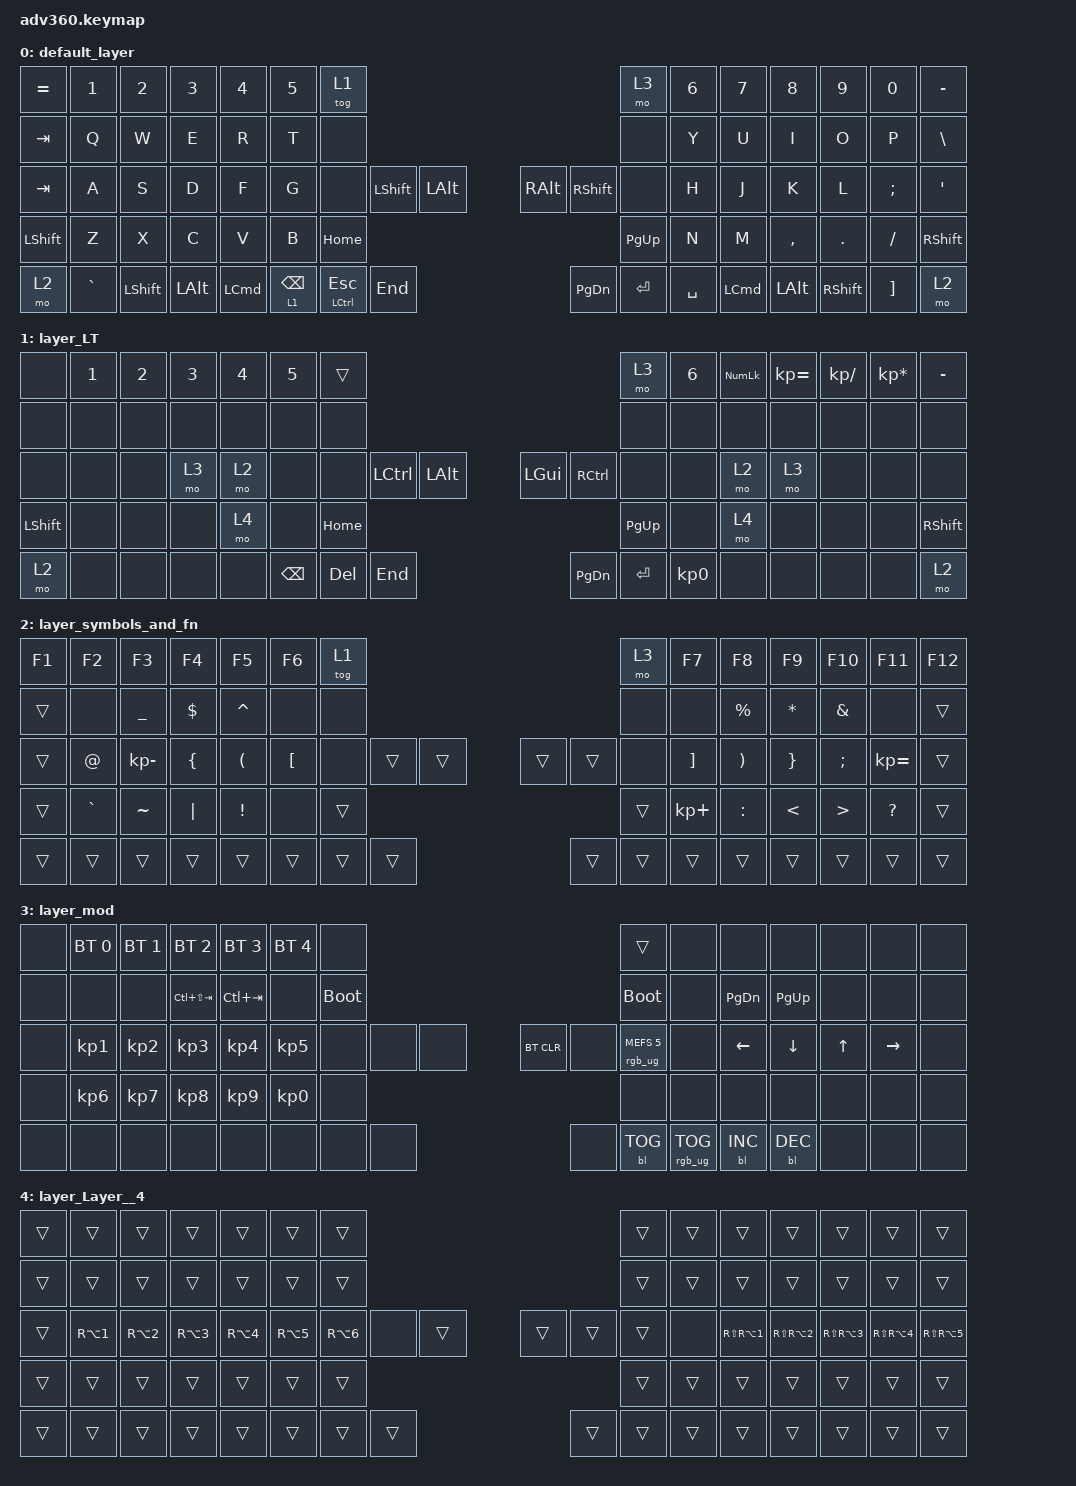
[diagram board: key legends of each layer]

/*
 * Copyright (c) 2020 The ZMK Contributors
 *
 * SPDX-License-Identifier: MIT
 */


/* THIS FILE WAS GENERATED!
 *
 * This file was generated automatically. You may or may not want to
 * edit it directly.
 */

#include <behaviors.dtsi>
#include <dt-bindings/zmk/keys.h>
#include <dt-bindings/zmk/bt.h>
#include <dt-bindings/zmk/rgb.h>
#include <dt-bindings/zmk/backlight.h>

/ {
  behaviors {
    #include "macros.dtsi"
    #include "version.dtsi"

    hm: homerow_mods {
        compatible = "zmk,behavior-hold-tap";
        label = "HOMEROW_MODS";
        #binding-cells = <2>;
        tapping-term-ms = <200>;
        quick_tap_ms = <175>;
        flavor = "tap-preferred";
        bindings = <&kp>, <&kp>;
    };
  };

    keymap {
        compatible = "zmk,keymap";


        default_layer {
            bindings = <
 &kp EQUAL     &kp N1          &kp N2        &kp N3            &kp N4  &kp N5                     &tog 1                                                                                         &mo 3  &kp N6            &kp N7        &kp N8           &kp N9    &kp N0  &kp MINUS
   &kp TAB      &kp Q           &kp W         &kp E             &kp R   &kp T                      &none                                                                                         &none   &kp Y             &kp U         &kp I            &kp O     &kp P   &kp BSLH
   &kp TAB      &kp A           &kp S         &kp D             &kp F   &kp G                      &none           &kp LEFT_SHIFT  &kp LALT                  &kp RIGHT_ALT  &kp RIGHT_SHIFT      &none   &kp H             &kp J         &kp K            &kp L  &kp SEMI    &kp SQT
 &kp LSHFT      &kp Z           &kp X         &kp C             &kp V   &kp B                                                      &kp HOME                      &kp PG_UP                               &kp N             &kp M     &kp COMMA          &kp DOT  &kp FSLH  &kp RSHFT
     &mo 2  &kp GRAVE  &kp LEFT_SHIFT  &kp LEFT_ALT  &kp LEFT_COMMAND                    &lt 1 BACKSPACE  &mt LEFT_CONTROL ESCAPE   &kp END                      &kp PG_DN        &kp ENTER  &kp SPACE          &kp LEFT_COMMAND  &kp LEFT_ALT  &kp RIGHT_SHIFT  &kp RBKT      &mo 2
            >;
        };

        layer_LT {
            bindings = <
     &none  &kp N1  &kp N2  &kp N3  &kp N4  &kp N5              &trans                                                                 &mo 3  &kp N6  &kp KP_NUM  &kp KP_EQUAL  &kp KP_DIVIDE  &kp KP_MULTIPLY  &kp MINUS
     &none   &none   &none   &none   &none   &none               &none                                                                 &none   &none       &none         &none          &none            &none      &none
     &none   &none   &none   &mo 3   &mo 2   &none               &none  &kp LCTRL  &kp LALT                   &kp LGUI  &kp RCTRL      &none   &none       &mo 2         &mo 3          &none            &none      &none
 &kp LSHFT   &none   &none   &none   &mo 4   &none                                 &kp HOME                  &kp PG_UP                         &none       &mo 4         &none          &none            &none  &kp RSHFT
     &mo 2   &none   &none   &none   &none                    &kp BSPC    &kp DEL   &kp END                  &kp PG_DN  &kp ENTER  &kp KP_N0               &none         &none          &none            &none      &mo 2
            >;
        };

        layer_symbols_and_fn {
            bindings = <
 &kp F1     &kp F2        &kp F3          &kp F4                &kp F5            &kp F6            &tog 1                                                   &mo 3             &kp F7                 &kp F8           &kp F9           &kp F10       &kp F11  &kp F12
 &trans      &none     &kp UNDER      &kp DOLLAR             &kp CARET             &none             &none                                                   &none              &none            &kp PERCENT         &kp STAR     &kp AMPERSAND         &none   &trans
 &trans     &kp AT  &kp KP_MINUS  &kp LEFT_BRACE  &kp LEFT_PARENTHESIS  &kp LEFT_BRACKET             &none  &trans  &trans                  &trans  &trans   &none  &kp RIGHT_BRACKET  &kp RIGHT_PARENTHESIS  &kp RIGHT_BRACE     &kp SEMICOLON  &kp KP_EQUAL   &trans
 &trans  &kp GRAVE     &kp TILDE        &kp PIPE              &kp EXCL             &none                            &trans                  &trans                        &kp KP_PLUS              &kp COLON    &kp LESS_THAN  &kp GREATER_THAN  &kp QUESTION   &trans
 &trans     &trans        &trans          &trans                &trans                              &trans  &trans  &trans                  &trans  &trans  &trans                                    &trans           &trans            &trans        &trans   &trans
            >;
        };

        layer_mod {
            bindings = <
  &none     &bt BT_SEL 0     &bt BT_SEL 1     &bt BT_SEL 2     &bt BT_SEL 3     &bt BT_SEL 4                  &none                                                                          &trans   &none          &none       &none   &none      &none   &none
  &none            &none            &none  &kp LC(LS(TAB))      &kp LC(TAB)            &none            &bootloader                                                                     &bootloader   &none  &kp PAGE_DOWN   &kp PG_UP   &none      &none   &none
  &none  &kp KP_NUMBER_1  &kp KP_NUMBER_2  &kp KP_NUMBER_3  &kp KP_NUMBER_4  &kp KP_NUMBER_5                  &none   &none   &none                  &bt BT_CLR       &none  &rgb_ug RGB_MEFS_CMD 5   &none       &kp LEFT    &kp DOWN  &kp UP  &kp RIGHT   &none
  &none  &kp KP_NUMBER_6  &kp KP_NUMBER_7  &kp KP_NUMBER_8  &kp KP_NUMBER_9  &kp KP_NUMBER_0                                  &none                       &none                                       &none          &none       &none   &none      &none   &none
  &none            &none            &none            &none            &none                                   &none   &none   &none                       &none  &bl BL_TOG         &rgb_ug RGB_TOG             &bl BL_INC  &bl BL_DEC   &none      &none   &none
            >;
        };

        layer_Layer__4 {
            bindings = <
 &trans      &trans      &trans      &trans      &trans            &trans                &trans                                                  &trans  &trans          &trans          &trans          &trans          &trans          &trans
 &trans      &trans      &trans      &trans      &trans            &trans                &trans                                                  &trans  &trans          &trans          &trans          &trans          &trans          &trans
 &trans  &kp RA(N1)  &kp RA(N2)  &kp RA(N3)  &kp RA(N4)  &kp RA(NUMBER_5)            &kp RA(N6)   &none  &trans                  &trans  &trans  &trans   &none  &kp RS(RA(N1))  &kp RS(RA(N2))  &kp RS(RA(N3))  &kp RS(RA(N4))  &kp RS(RA(N5))
 &trans      &trans      &trans      &trans      &trans            &trans                                &trans                  &trans                  &trans          &trans          &trans          &trans          &trans          &trans
 &trans      &trans      &trans      &trans      &trans                                  &trans  &trans  &trans                  &trans  &trans  &trans                  &trans          &trans          &trans          &trans          &trans
            >;
        };

    };
};
